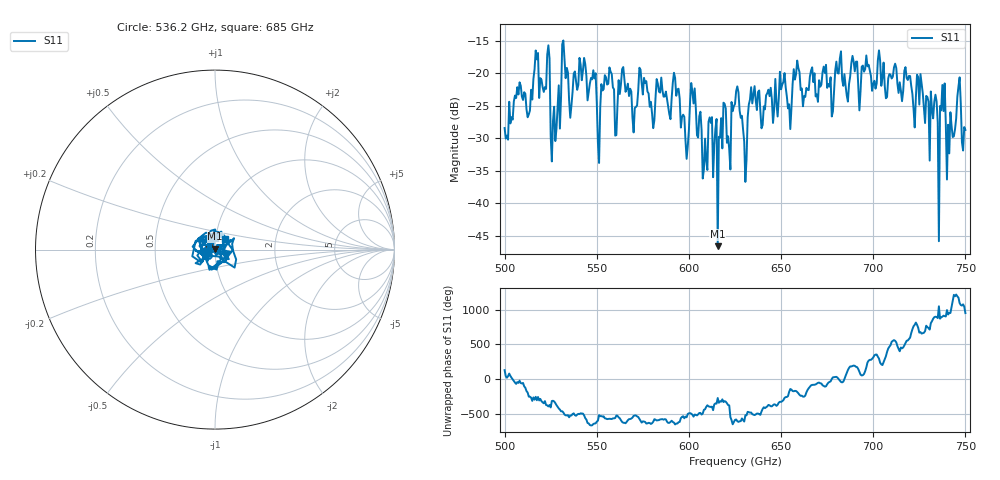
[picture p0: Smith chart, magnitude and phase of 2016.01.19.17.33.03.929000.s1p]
!Created with skrf (http://scikit-rf.org).
# GHz S RI R 50.0
!freq ReS11 ImS11
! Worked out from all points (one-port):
!   401 points, 500 GHz to 750 GHz, reference 50 ohm
!   lowest |S11| = -46.6 dB at 615.6 GHz (marker M1), VSWR 1.01, Z = 50 + j0.466 ohm
!   |S11| at or under -10 dB: start of sweep to end of sweep
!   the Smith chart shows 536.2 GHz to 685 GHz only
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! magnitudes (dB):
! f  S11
! 500 GHz  -28.4
! 507.5 GHz  -23.2
! 513.8 GHz  -25.7
! 516.9 GHz  -16.5
! 523.1 GHz  -17.1
! 526.2 GHz  -27.3
! 531.2 GHz  -15.5
! 548.1 GHz  -19.5
! 551.2 GHz  -33.8
! 555.6 GHz  -21.7
! 562.5 GHz  -23.2
! 593.8 GHz  -22.5
! 598.8 GHz  -33.2
! 601.9 GHz  -22.7
! 608.8 GHz  -30.0
! 611.2 GHz  -26.8
! 615.6 GHz  -46.6
! 625 GHz  -24.7
! 630.6 GHz  -36.7
! 634.4 GHz  -24.6
! 656.2 GHz  -21.7
! 687.5 GHz  -20.4
! 718.8 GHz  -21.0
! 735.6 GHz  -45.9
! 737.5 GHz  -21.8
! 741.2 GHz  -32.3
! 746.2 GHz  -22.0
! 750 GHz  -28.7
